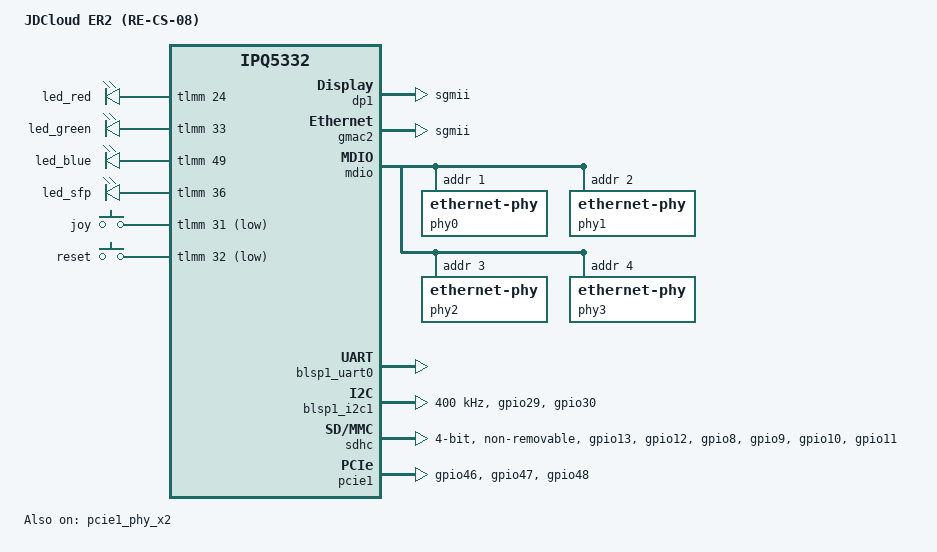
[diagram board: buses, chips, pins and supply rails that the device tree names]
// SPDX-License-Identifier: (GPL-2.0+ OR BSD-3-Clause)
/*
 * IPQ5332 JDCloud Taiyi ER2 (RE-CS-08) board device tree source
 *
 * Hardware description, taken from the vendor 5.4.213 device tree
 * (official_linu_5.4.213_mi01_6.dts) and the mainline RE-CS-08 DTS:
 *
 *  - IPQ5332, DDR4 (the size is filled in by the bootloader, do not hardcode)
 *  - 1x 10G SFP+   : internal PPE port 2 / UNIPHY1, C45 PHY at MDIO addr 30,
 *                    RX_LOS = GPIO45, TX_DISABLE = GPIO34
 *  - 4x 2.5G RJ45  : QCA8386 external switch (MDIO addr 0x10), its CPU port is
 *                    wired to internal PPE port 1 / UNIPHY0 in SGMII+ mode and
 *                    the switch link interrupt is GPIO23
 *  - 64G eMMC      : SDHC controller (4 bit, HS200/DDR), GPT partitioned, the
 *                    MAC address is stored in the "factory" GPT partition
 *  - M.2 slot      : PCIe1 x2 (PERST = GPIO47)
 *  - front panel   : red = GPIO24, green = GPIO33, blue = GPIO49, SFP = GPIO36
 *  - buttons       : joy = GPIO31, reset = GPIO32
 *  - no WiFi, no USB
 */

/dts-v1/;

#include <dt-bindings/gpio/gpio.h>
#include <dt-bindings/input/input.h>
#include <dt-bindings/leds/common.h>
#include "ipq5332.dtsi"
#ifdef __IPQ_MEM_PROFILE_512_MB__
#include "ipq5332-512MB-memory.dtsi"
#elif !defined(__IPQ_MEM_PROFILE_256_MB__)
#include "ipq5332-default-memory.dtsi"
#endif

/ {
	model = "JDCloud ER2 (RE-CS-08)";
	compatible = "jdcloud,er2", "jdcloud,re-cs-08", "qcom,ipq5332-ap-mi01.6", "qcom,ipq5332";

	aliases {
		serial0 = &blsp1_uart0;
		ethernet0 = &dp1;	/* 10G SFP+ : internal PPE port 2 */
		ethernet1 = &gmac2;	/* QCA8386 CPU port : internal PPE port 1 */
		led-boot = &led_blue;
		led-failsafe = &led_red;
		led-running = &led_green;
		led-upgrade = &led_red;
	};

	chosen {
		stdout-path = "serial0:115200n8";
		/*
		 * The console is already provided by the bootloader:
		 * bootargs=console=ttyMSM0,115200n8 earlycon clk_ignore_unused
		 * so only append what QSDK expects; a second console= here would
		 * be duplicated in /proc/cmdline (and silently ignored by the
		 * kernel).  clk_ignore_unused must stay: it keeps the bootloader /
		 * NSS owned, deviceless clocks running.
		 */
		bootargs-append = " clk_ignore_unused";
	};

	leds {
		compatible = "gpio-leds";
		pinctrl-0 = <&led_pins>;
		pinctrl-names = "default";

		led_red: led-red {
			label = "led_red";
			gpios = <&tlmm 24 GPIO_ACTIVE_HIGH>;
			default-state = "off";
		};

		led_green: led-green {
			label = "led_green";
			gpios = <&tlmm 33 GPIO_ACTIVE_HIGH>;
			default-state = "on";
		};

		led_blue: led-blue {
			label = "led_blue";
			gpios = <&tlmm 49 GPIO_ACTIVE_HIGH>;
			default-state = "off";
		};

		/* SFP+ cage indicator, used as a netdev LED by /etc/board.d/01_leds */
		led_sfp: led-sfp {
			label = "led_sfp";
			gpios = <&tlmm 36 GPIO_ACTIVE_HIGH>;
			default-state = "off";
		};
	};

	gpio-keys {
		compatible = "gpio-keys";
		pinctrl-0 = <&button_pins>;
		pinctrl-names = "default";

		button-joy {
			label = "joy";
			gpios = <&tlmm 31 GPIO_ACTIVE_LOW>;
			linux,code = <KEY_WPS_BUTTON>;
			linux,input-type = <1>;
			debounce-interval = <60>;
		};

		button-reset {
			label = "reset";
			gpios = <&tlmm 32 GPIO_ACTIVE_LOW>;
			linux,code = <KEY_RESTART>;
			linux,input-type = <1>;
			debounce-interval = <60>;
		};
	};

	reserved-memory {
		#address-cells = <2>;
		#size-cells = <2>;
		ranges;

		ramoops@49c00000 {
			compatible = "ramoops";
			reg = <0x0 0x49c00000 0x0 0x100000>;
			record-size = <0x20000>;
			console-size = <0x20000>;
			pmsg-size = <0x20000>;
		};
	};
};

/*
 * Ethernet MACs.  dp1 is the 10G SFP+ port (PPE port 2), dp2 is the CPU port
 * of the external QCA8386 switch (PPE port 1).  dp1 is described first so that
 * it becomes eth0 and dp2 becomes eth1, matching /etc/board.d/02_network.
 */
&soc {
	dp1: dp1 {
		device_type = "network";
		compatible = "qcom,nss-dp";
		qcom,id = <2>;
		reg = <0x3a504000 0x4000>;
		qcom,mactype = <1>;
		local-mac-address = [000000000000];
		mdio-bus = <&mdio>;
		qcom,phy-mdio-addr = <30>;
		qcom,link-poll = <1>;
		phy-mode = "sgmii";
	};

	gmac2: dp2 {
		device_type = "network";
		compatible = "qcom,nss-dp";
		qcom,id = <1>;
		reg = <0x3a500000 0x4000>;
		qcom,mactype = <1>;
		local-mac-address = [000000000000];
		phy-mode = "sgmii";
		qcom,mht-dev = <1>;
		qcom,is_switch_connected = <1>;
		/*
		 * Deliberate deviation from the vendor DTS, which enables
		 * "qcom,ppe-offload-disabled = <1>" on this port.
		 *
		 * nss-dp reads the property (nss_dp_main.c, of_property_read_bool)
		 * and feeds it to ppe_drv_dp_set_ppe_offload_enable_flag(iface,
		 * disable), where a set flag means "do not enable offload": PPE
		 * then keeps PPE_DRV_PORT_FLAG_OFFLOAD_ENABLED clear on PPE port 1
		 * and leaves bit 0 clear in /proc/sys/ppe/ppe_drv/if_bm_to_offload
		 * (mask 0x2 instead of 0x3).  PPE rejects every flow that touches
		 * that port - ppe_drv_port_check_flow_offload_enabled() walks a
		 * VLAN device up to its base device and requires the flag there -
		 * so eth1.x, and any bridge sitting on top of it, would never be
		 * hardware accelerated and the vendor used SFE for LAN<->WAN
		 * instead.
		 *
		 * Keeping it disabled is what the kmod-qca-nss-ppe-vlan-mgr and
		 * kmod-qca-nss-ppe-bridge-mgr clients need in order to register
		 * eth1.x / br-lan as PPE interfaces.  Uncomment only to reproduce
		 * vendor behaviour, or to take the QCA8386 CPU port out of the
		 * offload path while debugging PPE.
		 */
		/* qcom,ppe-offload-disabled = <1>; */
	};

	/* EDMA host driver configuration for this board */
	edma@3ab00000 {
		qcom,txdesc-ring-start = <4>;		/* Tx desc ring start ID */
		qcom,txdesc-rings = <12>;		/* Total number of Tx desc rings to be provisioned */
		/*
		 * The MHT rings (mht-txdesc-rings/mht-txcmpl-rings above and the
		 * MHT entries of txdesc-map below) are inherited from the vendor
		 * DTS.  nss-dp only uses them when the MHT device flag is on:
		 * qcom,mht-dev = <1> on dp2 plus nss_dp_mht_multi_txring=1 for
		 * qca-nss-dp.
		 *
		 * Measured 2026-09 on -CS-08: switching nss_dp_mht_multi_txring
		 * to 1 took the device off the network, the LAN ports stopped
		 * passing traffic and the change had to be rolled back.  The
		 * module parameter therefore stays at its default 0 (dp2 keeps the
		 * single SW port Tx ring map) and PPE offload works without it.
		 * Re-validate on the bench before ever enabling it.
		 */
		qcom,mht-txdesc-rings = <8>;		/* Extra Tx desc rings to be provisioned for MHT SW ports */
		qcom,txcmpl-ring-start = <4>;		/* Tx complete ring start ID */
		qcom,txcmpl-rings = <12>;		/* Total number of Tx complete rings to be provisioned */
		qcom,mht-txcmpl-rings = <8>;		/* Extra Tx complete rings to be provisioned for mht sw ports. */
		qcom,rxfill-ring-start = <4>;		/* Rx fill ring start ID */
		qcom,rxfill-rings = <4>;		/* Total number of Rx fill rings to be provisioned */
		qcom,rxdesc-ring-start = <12>;		/* Rx desc ring start ID */
		qcom,rxdesc-rings = <4>;		/* Total number of Rx desc rings to be provisioned */
		qcom,rx-page-mode = <0>;		/* Rx fill ring page mode */
		qcom,tx-map-priority-level = <1>;	/* Tx priority level per port */
		qcom,rx-map-priority-level = <1>;	/* Rx priority level per core */
		qcom,ppeds-num = <2>;			/* Number of PPEDS nodes */
		/* PPE-DS node format: <Rx-fill Tx-cmpl Rx Tx Queue-base Queue-count> */
		qcom,ppeds-map = <1 1 1 1 32 8>,	/* PPEDS Node#0 ring and queue map */
				<2 2 2 2 40 8>;		/* PPEDS Node#1 ring and queue map */
		qcom,txdesc-map = <8 9 10 11>,		/* Port0 per-core Tx ring map */
				<12 13 14 15>,		/* MHT-Port1 per-core Tx ring map */
				<4 5 6 7>,		/* MHT-Port2 per-core Tx ring map/packets from vp */
				<16 17 18 19>,		/* MHT-Port3 per-core Tx ring map */
				<20 21 22 23>;		/* MHT-Port4 per-core Tx ring map */
		qcom,txdesc-fc-grp-map = <1 2 3 4 5>;	/* Per GMAC flow control group map */
		qcom,rxfill-map = <4 5 6 7>;		/* Per-core Rx fill ring map */
		qcom,rxdesc-map = <12 13 14 15>;	/* Per-core Rx desc ring map */
		/*
		 * No VP ring is provisioned on this board, which is a deliberate
		 * deviation from the vendor DTS (ipq5332-rdp441.dts declares
		 * qcom,rxdesc-vp-ring-idx = <4> and qcom,rx-vp-rings = <1>):
		 *  - NSS_DP_VP_RINGS is not defined in this build, so
		 *    NSS_DP_VP_NUM_RINGS is 0 and a DT entry would have hit
		 *    BUG_ON(rx_vp_rings > NSS_DP_VP_NUM_RINGS) in
		 *    edma_of_get_vp_pdata();
		 *  - ring index 4 only exists in the vendor MINENT profile (5 Rx
		 *    desc rings with 5-entry rxdesc-map/rx-ring-queue-map).  With
		 *    the 4 rings used here (12..15, map <12 13 14 15>), the VP
		 *    queue map would read past the end of those maps and remap
		 *    PPE queues 0..7 onto an unallocated ring.
		 * PPE virtual port Rx (ppe_vp_rx_dp_cb, registered by
		 * qca-nss-ppe-vp) therefore stays unavailable; enable it only
		 * together with a 5th Rx desc ring, matching maps and an nss-dp
		 * rebuilt with NSS_DP_VP_RINGS defined.
		 */
		qcom,rx-queue-start = <0>;		/* Rx queue start */
		qcom,rx-ring-queue-map = <0 8 16 24>,	/* Priority 0 queues per-core Rx ring map */
					  <1 9 17 25>,	/* Priority 1 queues per-core Rx ring map */
					  <2 10 18 26>,	/* Priority 2 queues per-core Rx ring map */
					  <3 11 19 27>,	/* Priority 3 queues per-core Rx ring map */
					  <4 12 20 28>,	/* Priority 4 queues per-core Rx ring map */
					  <5 13 21 29>,	/* Priority 5 queues per-core Rx ring map */
					  <6 14 22 30>,	/* Priority 6 queues per-core Rx ring map */
					  <7 15 23 31>;	/* Priority 7 queues per-core Rx ring map */
		interrupts = <0 163 4>,			/* Tx complete ring id #4 IRQ info */
			   <0 164 4>,			/* Tx complete ring id #5 IRQ info */
			   <0 165 4>,			/* Tx complete ring id #6 IRQ info */
			   <0 166 4>,			/* Tx complete ring id #7 IRQ info */
			   <0 167 4>,			/* Tx complete ring id #8 IRQ info */
			   <0 168 4>,			/* Tx complete ring id #9 IRQ info */
			   <0 169 4>,			/* Tx complete ring id #10 IRQ info */
			   <0 170 4>,			/* Tx complete ring id #11 IRQ info */
			   <0 171 4>,			/* Tx complete ring id #12 IRQ info */
			   <0 172 4>,			/* Tx complete ring id #13 IRQ info */
			   <0 173 4>,			/* Tx complete ring id #14 IRQ info */
			   <0 174 4>,			/* Tx complete ring id #15 IRQ info */
			   <0 139 4>,			/* Rx desc ring id #12 IRQ info */
			   <0 140 4>,			/* Rx desc ring id #13 IRQ info */
			   <0 141 4>,			/* Rx desc ring id #14 IRQ info */
			   <0 142 4>,			/* Rx desc ring id #15 IRQ info */
			   <0 191 4>,			/* Misc error IRQ info */
			   <0 160 4>,			/* PPEDS Node #1(TxComp ring id #1) TxComplete IRQ info */
			   <0 128 4>,			/* PPEDS Node #1(Rx Desc ring id #1) Rx Desc IRQ info */
			   <0 152 4>,			/* PPEDS Node #1(RxFill Desc ring id #1) Rx Fill IRQ info */
			   <0 161 4>,			/* PPEDS Node #2(TxComp ring id #2) TxComplete IRQ info */
			   <0 129 4>,			/* PPEDS Node #2(Rx Desc ring id #2) Rx Desc IRQ info */
			   <0 153 4>,			/* PPEDS Node #2(RxFill Desc ring id #2) Rx Fill IRQ info */
			   <0 175 4>,			/* MHT port Tx complete ring id #16 IRQ info */
			   <0 176 4>,			/* MHT port Tx complete ring id #17 IRQ info */
			   <0 177 4>,			/* MHT port Tx complete ring id #18 IRQ info */
			   <0 178 4>,			/* MHT port Tx complete ring id #19 IRQ info */
			   <0 179 4>,			/* MHT port Tx complete ring id #20 IRQ info */
			   <0 180 4>,			/* MHT port Tx complete ring id #21 IRQ info */
			   <0 181 4>,			/* MHT port Tx complete ring id #22 IRQ info */
			   <0 182 4>;			/* MHT port Tx complete ring id #23 IRQ info */
	};
};


/*
 * MDIO bus: the four embedded PHYs of the QCA8386 switch are marked with the
 * ssdk "fixup" property, GPIO51 is the shared PHY/switch reset line.
 */
&mdio {
	pinctrl-0 = <&mdio1_pins &mdio0_pins>;
	pinctrl-names = "default";
	phy-reset-gpio = <&tlmm 51 GPIO_ACTIVE_LOW>;
	phyaddr_fixup = <0xC90F018>;
	uniphyaddr_fixup = <0xC90F014>;
	mdio_clk_fixup;		/* MDIO clock sequence fix up flag */
	status = "okay";

	phy0: ethernet-phy@0 {
		reg = <1>;
		fixup;
	};

	phy1: ethernet-phy@1 {
		reg = <2>;
		fixup;
	};

	phy2: ethernet-phy@2 {
		reg = <3>;
		fixup;
	};

	phy3: ethernet-phy@3 {
		reg = <4>;
		fixup;
	};

	/*
	 * The external QCA8386 switch.  It is driven by the QSDK ssdk
	 * "switch1" node below, so the mainline qca8k DSA description is kept
	 * disabled here.  Enable it (and disable the ssdk switch1 node) when
	 * running with the kmod-qca8k DSA driver instead.
	 */
	switch0@10 {
		compatible = "qca,qca8386";
		#address-cells = <1>;
		#size-cells = <0>;
		reg = <0x10>;
		status = "disabled";

		ports {
			#address-cells = <1>;
			#size-cells = <0>;

			port@0 {
				reg = <0>;
				label = "cpu";
				ethernet = <&gmac2>;
				phy-mode = "sgmii";
			};

			port@1 {
				reg = <1>;
				label = "lan1";
				phy-handle = <&phy0>;
			};

			port@2 {
				reg = <2>;
				label = "lan2";
				phy-handle = <&phy1>;
			};

			port@3 {
				reg = <3>;
				label = "lan3";
				phy-handle = <&phy2>;
			};

			port@4 {
				reg = <4>;
				label = "lan4";
				phy-handle = <&phy3>;
			};
		};
	};
};


/*
 * Internal PPE switch (UNIPHY0 -> QCA8386 uplink, UNIPHY1 -> 10G SFP+) and the
 * external QCA8386 front panel switch ("switch1").
 */
&ess_instance {
	num_devices = <2>;

	ess-switch@3a000000 {
		pinctrl-0 = <&sfp_pins>;
		pinctrl-names = "default";

		switch_cpu_bmp = <0x1>;		/* cpu port bitmap */
		switch_lan_bmp = <0x2>;		/* lan port bitmap (PPE port 1) */
		switch_wan_bmp = <0x4>;		/* wan port bitmap (PPE port 2) */
		switch_mac_mode = <0xc>;	/* mac mode for uniphy instance0 (SGMII+) */
		switch_mac_mode1 = <0xe>;	/* mac mode for uniphy instance1 (10GBASE-R) */
		switch_mac_mode2 = <0xff>;	/* mac mode for uniphy instance2 */

		qcom,port_phyinfo {
			port@0 {
				port_id = <1>;
				forced-speed = <2500>;
				forced-duplex = <1>;

				switch_external {
					switch_handle = <&switch1>;
					switch_cpu_port = <0>;
				};
			};

			port@1 {
				port_id = <2>;
				phy_address = <30>;
				media-type = "sfp";	/* fiber mode */
			};
		};

		led_source@5 {
			source = <5>;
			mode = "normal";
			speed = "all";
			blink_en = "enable";
			active = "high";
		};
	};

	switch1: ess-switch1@1 {
		compatible = "qcom,ess-switch-qca8386";
		device_id = <1>;
		switch_access_mode = "mdio";
		mdio-bus = <&mdio>;
		switch_mac_mode = <0xc>;	/* mac mode for uniphy instance0 */
		switch_mac_mode1 = <0xff>;	/* mac mode1 for uniphy instance1 */
		switch_cpu_bmp = <0x1>;		/* Port0 is the CPU port */
		switch_lan_bmp = <0x1e>;	/* Port1-Port4 are front panel ports */
		switch_wan_bmp = <0x0>;
		link-polling-required = <0>;
		fdb_sync = "interrupt";
		link-intr-gpio = <&tlmm 23 GPIO_ACTIVE_HIGH>;

		qcom,port_phyinfo {
			port@0 {
				port_id = <0>;
				forced-speed = <2500>;
				forced-duplex = <1>;
			};
			port@1 {
				port_id = <1>;
				phy_address = <1>;
			};
			port@2 {
				port_id = <2>;
				phy_address = <2>;
			};
			port@3 {
				port_id = <3>;
				phy_address = <3>;
			};
			port@4 {
				port_id = <4>;
				phy_address = <4>;
			};
		};

		led_source@2 {
			source = <2>;
			mode = "normal";
			speed = "all";
			blink_en = "enable";
			active = "high";
		};

		led_source@5 {
			source = <5>;
			mode = "normal";
			speed = "all";
			blink_en = "enable";
			active = "high";
		};

		led_source@8 {
			source = <8>;
			mode = "normal";
			speed = "all";
			blink_en = "enable";
			active = "high";
		};
	};
};


/* PINCTRL */
&tlmm {
	led_pins: led-state {
		pins = "gpio24", "gpio33", "gpio36", "gpio49";
		function = "gpio";
		drive-strength = <8>;
		bias-pull-down;
	};

	button_pins: button-state {
		pins = "gpio31", "gpio32";
		function = "gpio";
		drive-strength = <8>;
		bias-pull-up;
	};

	i2c1_pins: i2c1-state {
		pins = "gpio29", "gpio30";
		function = "blsp1_i2c0";
		drive-strength = <8>;
		bias-pull-up;
	};

	sfp_pins: sfp-state {
		sfp_rx_los {
			pins = "gpio45";
			function = "rx1";
			bias-disable;
		};

		sfp_tx_disable {
			pins = "gpio34";
			function = "gpio";
			drive-strength = <8>;
			bias-pull-down;
			output-low;
		};
	};

	sdc_default_state: sdc-default-state {
		clk-pins {
			pins = "gpio13";
			function = "sdc_clk";
			drive-strength = <8>;
			bias-disable;
		};

		cmd-pins {
			pins = "gpio12";
			function = "sdc_cmd";
			drive-strength = <8>;
			bias-pull-up;
		};

		data-pins {
			pins = "gpio8", "gpio9", "gpio10", "gpio11";
			function = "sdc_data";
			drive-strength = <8>;
			bias-pull-up;
		};
	};

	pcie1_default_state: pcie1-default-state {
		clkreq-n-pins {
			pins = "gpio46";
			function = "pcie1_clk";
			drive-strength = <8>;
			bias-pull-up;
		};

		perst-n-pins {
			pins = "gpio47";
			function = "gpio";
			drive-strength = <8>;
			bias-pull-up;
			output-low;
		};

		wake-n-pins {
			pins = "gpio48";
			function = "pcie1_wake";
			drive-strength = <8>;
			bias-pull-up;
		};
	};
};

/* Console */
&blsp1_uart0 {
	pinctrl-0 = <&serial_0_pins>;
	pinctrl-names = "default";
	status = "okay";
};

/* SFP+ EEPROM / module I2C bus */
&blsp1_i2c1 {
	pinctrl-0 = <&i2c1_pins>;
	pinctrl-names = "default";
	clock-frequency = <400000>;
	status = "okay";
};

/* eMMC (64G, GPT partitioned) */
&sdhc {
	#address-cells = <1>;
	#size-cells = <0>;
	bus-width = <4>;
	max-frequency = <192000000>;
	mmc-ddr-1_8v;
	mmc-hs200-1_8v;
	non-removable;
	pinctrl-0 = <&sdc_default_state>;
	pinctrl-names = "default";
	status = "okay";
};

/* M.2 slot: 2 lane PCIe1, PERST on GPIO47 */
&pcie1_phy_x2 {
	status = "okay";
};

&pcie1 {
	pinctrl-0 = <&pcie1_default_state>;
	pinctrl-names = "default";
	perst-gpios = <&tlmm 47 GPIO_ACTIVE_LOW>;
	status = "okay";
};

/* The other two PCIe controllers are not wired up on this board */
&pcie0 {
	status = "disabled";
};

&pcie2 {
	status = "disabled";
};

/* No USB on this board */
&usb3 {
	status = "disabled";
};

/*
 * WiFi / WCSS / MLO reserved memory is not used on this board.
 *
 * Every region below is a "no-map" carve-out that the QSDK default memory
 * profile reserves for the Q6 (WCSS) firmware, for its dump buffers, for the
 * calibration database, for the MLO global buffer and for the Q6 host DDR
 * buffer.  Marking the nodes "disabled" makes the kernel skip them in the
 * reserved-memory scan (same mechanism that ipq5332-default-memory.dtsi
 * already uses for qcn9224_pcie0/1 + dma_pool0/1, which is why those never
 * show up in the boot log), which:
 *
 *   - returns ~60 MB to Linux:
 *       wcnss@4a900000            35 MB
 *       q6_ipq5332_data@4b500000  23 MB  (fully contained in wcnss, so no
 *                                         extra gain - it is the region that
 *                                         triggers the overlap warning)
 *       m3_dump@4cc00000           1 MB
 *       q6_etr_dump@1              1 MB
 *       q6_caldb_region@4ce00000   5 MB
 *       mlo_global_mem_0@4db00000 18 MB
 *   - removes the vendor profile bug
 *       "OF: reserved mem: OVERLAP DETECTED! wcnss@4a900000 ... overlaps with
 *        q6_ipq5332_data@4b500000"
 *       (q6_ipq5332_data@4b500000 is fully contained in wcnss@4a900000)
 *
 * Unrelated noise that is *not* addressed here: the boot warning
 * "Minidump: rsvd region is not specified" comes from
 * drivers/soc/qcom/ctx-save.c, which asks for the minidump region through the
 * "memory-region" phandle of the qti,ctxt-save-ipq5332 node.  That phandle
 * points at minidump_mem@0, a node the vendor dtsi describes without a "reg"
 * property, so of_reserved_mem_lookup() returns NULL.  Disabling the regions
 * below does not change that message.
 *
 * The regions that the bootloader / TZ / SMEM really use (tzapp, bootloader,
 * sbl, tz, smem, ramoops) are deliberately left enabled.  Re-enable the
 * regions below if the M.2 QCN9224 WiFi module is ever brought up over
 * PCIe-MHI together with the WCSS remoteproc.
 */
/ {
	reserved-memory {
		wcnss@4a900000 {
			status = "disabled";
		};

		q6_ipq5332_data@4b500000 {
			status = "disabled";
		};

		m3_dump@4cc00000 {
			status = "disabled";
		};

		q6_etr_dump@1 {
			status = "disabled";
		};

		q6_caldb_region@4ce00000 {
			status = "disabled";
		};

		mlo_global_mem_0@0x4db00000 {
			status = "disabled";
		};
	};
};

/*
 * No WiFi on this board: keep the WCSS remoteproc and every WiFi node off so
 * that the Q6 firmware is never loaded and the wireless reserved memory is not
 * used by any driver.
 */
&q6v5_wcss {
	status = "disabled";
};

&wifi0 {
	status = "disabled";
};

&wifi1 {
	status = "disabled";
};

&wifi2 {
	status = "disabled";
};

&wifi3 {
	status = "disabled";
};

&wifi4 {
	status = "disabled";
};

&wifi5 {
	status = "disabled";
};

/*
 * License manager.  ipq5332.dtsi ships this node "disabled"; the vendor RDP
 * boards turn it on to hand license blobs to an attached PCIe device, or to
 * the WCSS/Q6 remoteproc through lm_get_license().  This board has neither:
 * the only PCIe device is the internal Qualcomm bridge (0001:00:00.0, class
 * 0x060400, no driver), all &wifi nodes stay disabled, and the node carries
 * no license-feature/tmel-bounded property - so the driver only adds
 * "lm license_manager: License Manager registered successfully" plus a
 * /sys/kernel/license_manager/* that nothing reads.  Keep it off; re-enable
 * (with the matching properties) if a licensed PCIe endpoint is attached one
 * day.
 */
&license_manager {
	status = "disabled";
};

/* ================================================================== */
/*                     MISC BOARD FIXUPS                              */
/* ================================================================== */

/*
 * L2 cache: the IPQ5332 has one unified L2 shared by the four A53 cores.
 * ipq5332.dtsi describes it as "compatible = cache; cache-level = <2>" and
 * points every CPU at it through next-level-cache, but it is missing the
 * "cache-unified" flag that the mainline ipq5332.dtsi carries.  Without it the
 * cacheinfo core cannot classify the L2 leaf and the boot log shows
 * "cacheinfo: Unable to detect cache hierarchy for CPU 0"
 * (drivers/base/cacheinfo.c, pr_warn in detect_cache_attributes()).
 */
&L2_0 {
	cache-unified;
};

/*
 * Context save / minidump.  The vendor ipq5332.dtsi wires ctx-save to
 * minidump_mem@0, a node that carries no "reg" property (it is only a label
 * for a region the bootloader was supposed to fill in).  of_reserved_mem_lookup()
 * can therefore never resolve it, so ctx-save.c prints
 * "Minidump: rsvd region is not specified" and never schedules its dump worker.
 * Dropping the phandle makes the driver take the "no memory-region" path
 * instead of the "unresolvable memory-region" path - same behaviour, no noise.
 * Restore the phandle (and give minidump_mem@0 a real reg) if crash dumps are
 * needed later on.
 */
&ctx_save {
	/delete-property/ memory-region;
};

/* ================================================================== */
/*                     CLOCK FREQUENCIES                              */
/* ================================================================== */
&sleep_clk {
    clock-frequency = <32000>;
};

&xo {
    clock-frequency = <24000000>;
};

/* 如果还有其他缺失的时钟频率 */
&pcie_2lane_phy_pipe_clk {
    clock-frequency = <250000000>;
};

&pcie_2lane_phy_pipe_clk_x1 {
    clock-frequency = <250000000>;
};

&usb_pcie_wrapper_pipe_clk {
    clock-frequency = <250000000>;
};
